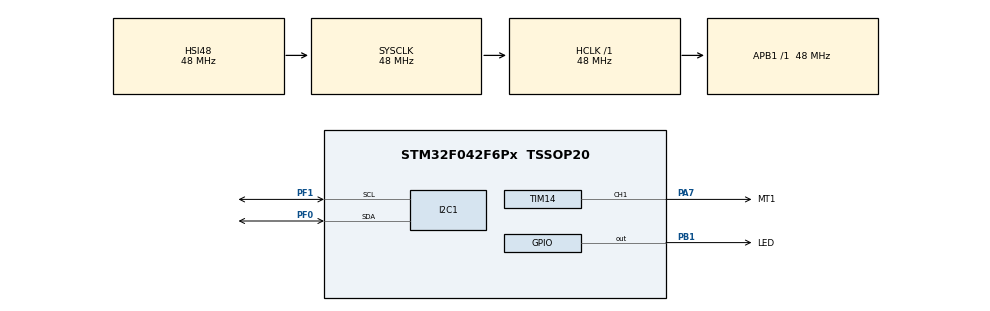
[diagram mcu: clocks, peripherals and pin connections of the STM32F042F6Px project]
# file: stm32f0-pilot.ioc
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Mcu.Family=STM32F0
Mcu.Name=STM32F042F6Px
Mcu.Package=TSSOP20
PA7.GPIO_Label=MT1
PA7.Signal=S_TIM14_CH1
PB1.GPIO_Label=LED
PB1.Signal=GPIO_Output
PF0-OSC_IN.Mode=I2C
PF0-OSC_IN.Signal=I2C1_SDA
PF1-OSC_OUT.Mode=I2C
PF1-OSC_OUT.Signal=I2C1_SCL
ProjectManager.HeapSize=0x200
ProjectManager.StackSize=0x400
ProjectManager.TargetToolchain=STM32CubeIDE
RCC.AHBFreq_Value=48000000
RCC.APB1Freq_Value=48000000
RCC.APB1TimFreq_Value=48000000
RCC.HCLKFreq_Value=48000000
RCC.SYSCLKFreq_VALUE=48000000
RCC.SYSCLKSource=RCC_SYSCLKSOURCE_HSI48
SH.S_TIM14_CH1.0=TIM14_CH1,PWM Generation1 CH1
TIM14.Channel=TIM_CHANNEL_1
TIM14.Period=500
TIM14.Prescaler=48000
TIM14.Pulse=100
VP_TIM14_VS_ClockSourceINT.Mode=Enable_Timer
board=custom

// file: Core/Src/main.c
/* USER CODE BEGIN Header */
/**
  ******************************************************************************
  * @file           : main.c
  * @brief          : Main program body
  ******************************************************************************
  * @attention
  *
  * <h2><center>&copy; Copyright (c) 2020 STMicroelectronics.
  * All rights reserved.</center></h2>
  *
  * This software component is licensed by ST under BSD 3-Clause license,
  * the "License"; You may not use this file except in compliance with the
  * License. You may obtain a copy of the License at:
  *                        opensource.org/licenses/BSD-3-Clause
  *
  ******************************************************************************
  */
/* USER CODE END Header */

#include "main.h"

/* USER CODE BEGIN PD */
#define BNO055_DEV_ADDR (0x29<<1) //(0x28<<1)
#define BNO055_REG_CHIP_ID 0x00
#define BNO055_REG_CHIP_ID_VALUE 0xA0
#define BNO055_REG_SW_REV_ID_LSB 0x04
#define BNO055_REG_SW_REV_ID_MSB 0x05
#define BNO055_REG_BL_REV_ID 0x06
#define BNO055_REG_SYS_TRIGGER 0x3F
#define BNO055_REG_PWR_MODE 0x3E
#define BNO055_REG_OPR_MODE 0x3D
#define BNO055_REG_UNIT_SEL 0x3B
#define BNO055_REG_SYS_ERR 0x3A
#define BNO055_REG_SYS_STATUS 0x39
#define BNO055_REG_EUL_PITCH_MSB 0x1F
#define BNO055_REG_EUL_PITCH_LSB 0x1E
#define BNO055_REG_EUL_ROLL_MSB 0x1D
#define BNO055_REG_EUL_ROLL_LSB 0x1C
#define BNO055_REG_EUL_YAW_MSB 0x1B
#define BNO055_REG_EUL_YAW_LSB 0x1A
#define BNO055_REG_GYR_DATA_Z_MSB 0x19
#define BNO055_REG_GYR_DATA_Z_LSB 0x18
#define BNO055_REG_GYR_DATA_Y_MSB 0x17
#define BNO055_REG_GYR_DATA_Y_LSB 0x16
#define BNO055_REG_GYR_DATA_X_MSB 0x15
#define BNO055_REG_GYR_DATA_X_LSB 0x14
#define BNO055_OPR_MODE_IMU 0x08

#define MPL3115A2_DEV_ADDR (0x60 << 1)
#define MPL3115A2_REG_WHO_AM_I 0x0C
#define MPL3115A2_REG_WHO_AM_VALUE 0xC4
#define MPL3115A2_REG_CTRL_REG1 0x26
#define MPL3115A2_REG_CTRL_REG2 0x27
#define MPL3115A2_REG_CTRL_REG3 0x28
#define MPL3115A2_REG_CTRL_REG4 0x29
#define MPL3115A2_REG_CTRL_REG5 0x2A
#define MPL3115A2_REG_STATUS 0x00
#define MPL3115A2_REG_OUT_P_MSB 0x01
#define MPL3115A2_REG_OUT_P_CSB 0x02
#define MPL3115A2_REG_OUT_P_LSB 0x03
#define MPL3115A2_REG_OUT_T_MSB 0x04
#define MPL3115A2_REG_OUT_T_LSB 0x05
#define MPL3115A2_REG_OUT_P_DELTA_MSB 0x07
#define MPL3115A2_REG_OUT_P_DELTA_CSB 0x08
#define MPL3115A2_REG_OUT_P_DELTA_LSB 0x09
#define MPL3115A2_REG_OUT_T_DELTA_MSB 0x0A
#define MPL3115A2_REG_OUT_T_DELTA_LSB 0x0B
#define MPL3115A2_REG_SYSMOD 0x11
#define MPL3115A2_REG_INT_SOURCE 0x12
#define MPL3115A2_REG_PT_DATA_CFG 0x13

/* USER CODE END PD */

I2C_HandleTypeDef hi2c1;

TIM_HandleTypeDef htim14;

/* USER CODE BEGIN PV */
uint8_t i2cRxBuffer[12];
uint8_t i2cTxBuffer;
uint16_t euler[3];
uint16_t gyro[3];

int32_t pData;
float pData_f;
int16_t tData;
float tData_f;
char uartTxBuff[64];
/* USER CODE END PV */

void SystemClock_Config(void);
static void MX_GPIO_Init(void);
static void MX_I2C1_Init(void);
static void MX_TIM14_Init(void);

/* USER CODE BEGIN 0 */
void IMU_Init(void)
{
	// read CHIP_ID register
	if (HAL_I2C_Mem_Read(&hi2c1, BNO055_DEV_ADDR, BNO055_REG_CHIP_ID, 1, i2cRxBuffer, 1, 100)==HAL_OK){
	  if (i2cRxBuffer[0] == BNO055_REG_CHIP_ID_VALUE) {
	  }
	} else {
	}

	// read Bootloader version
	HAL_I2C_Mem_Read(&hi2c1, BNO055_DEV_ADDR, BNO055_REG_BL_REV_ID, 1, &i2cRxBuffer[1], 1, 100);

	// read Software version
	HAL_I2C_Mem_Read(&hi2c1, BNO055_DEV_ADDR, BNO055_REG_SW_REV_ID_LSB, 1, &i2cRxBuffer[2], 1, 100);
	HAL_I2C_Mem_Read(&hi2c1, BNO055_DEV_ADDR, BNO055_REG_SW_REV_ID_MSB, 1, &i2cRxBuffer[3], 1, 100);
	HAL_I2C_Mem_Read(&hi2c1, BNO055_DEV_ADDR, BNO055_REG_SW_REV_ID_LSB, 1, &i2cRxBuffer[4], 2, 100);

	// read System Status
	HAL_I2C_Mem_Read(&hi2c1, BNO055_DEV_ADDR, BNO055_REG_SYS_STATUS, 1, &i2cRxBuffer[1], 1, 10);
	HAL_I2C_Mem_Read(&hi2c1, BNO055_DEV_ADDR, BNO055_REG_SYS_ERR, 1, &i2cRxBuffer[1], 1, 10);

	// set operating mode to IMU mode
	i2cTxBuffer = BNO055_OPR_MODE_IMU;
	HAL_I2C_Mem_Write(&hi2c1, BNO055_DEV_ADDR, BNO055_REG_OPR_MODE, 1, &i2cTxBuffer, 1, 10);
	HAL_I2C_Mem_Read(&hi2c1, BNO055_DEV_ADDR, BNO055_REG_SYS_STATUS, 1, &i2cRxBuffer[1], 1, 10);
}
void readIMU(void)
{
	HAL_I2C_Mem_Read(&hi2c1, BNO055_DEV_ADDR, BNO055_REG_EUL_PITCH_MSB, 1, i2cRxBuffer, 12, 10);
	euler[0] = i2cRxBuffer[0]<<8 | i2cRxBuffer[1];
	euler[1] = i2cRxBuffer[2]<<8 | i2cRxBuffer[3];
	euler[2] = i2cRxBuffer[4]<<8 | i2cRxBuffer[5];
	gyro[0]  = i2cRxBuffer[6]<<8 | i2cRxBuffer[7];
	gyro[1]  = i2cRxBuffer[8]<<8 | i2cRxBuffer[9];
	gyro[2]  = i2cRxBuffer[10]<<8 | i2cRxBuffer[11];
}

void Alti_Init(void)
{
	/* MPL3115A2 INITIALIZATION */

	// check MPL3115A2 sensor by reading WHO_AM_I register
	if (HAL_I2C_Mem_Read(&hi2c1, MPL3115A2_DEV_ADDR, MPL3115A2_REG_WHO_AM_I, 1, i2cRxBuffer, 1, 100) == HAL_OK){
	  if (i2cRxBuffer[0] == MPL3115A2_REG_WHO_AM_VALUE) {
		  //read system mode
		  HAL_I2C_Mem_Read(&hi2c1, MPL3115A2_DEV_ADDR, MPL3115A2_REG_SYSMOD, 1, &i2cRxBuffer[1], 1, 100);
	  } else {
	  }
	}

	i2cTxBuffer=0x07;
	HAL_I2C_Mem_Write(&hi2c1, MPL3115A2_DEV_ADDR, MPL3115A2_REG_PT_DATA_CFG, 1, &i2cTxBuffer, 1, 100);

	i2cTxBuffer=0x80; // Data Ready interrupt enabled
	HAL_I2C_Mem_Write(&hi2c1, MPL3115A2_DEV_ADDR, MPL3115A2_REG_CTRL_REG4, 1, &i2cTxBuffer, 1, 100);

	i2cTxBuffer=0x80; // Interrupt is routed to INT1
	HAL_I2C_Mem_Write(&hi2c1, MPL3115A2_DEV_ADDR, MPL3115A2_REG_CTRL_REG5, 1, &i2cTxBuffer, 1, 100);

	// put sensor to ACTIVE mode
	//  i2cTxBuff=0xB9; // altitude mode
	i2cTxBuffer=0x39; // barometer mode
	HAL_I2C_Mem_Write(&hi2c1, MPL3115A2_DEV_ADDR, MPL3115A2_REG_CTRL_REG1, 1, &i2cTxBuffer, 1, 100);

	//read system mode
	HAL_I2C_Mem_Read(&hi2c1, MPL3115A2_DEV_ADDR, MPL3115A2_REG_SYSMOD, 1, &i2cRxBuffer[1], 1, 100);
}

void readAlti(void)
{

	// read all data at once
	if (HAL_I2C_Mem_Read(&hi2c1, MPL3115A2_DEV_ADDR, MPL3115A2_REG_OUT_P_MSB, 1, i2cRxBuffer, 5, 100) == HAL_OK)
	{

		/*
		 * altitude
		 */

		pData = i2cRxBuffer[0]<<24 | i2cRxBuffer[1]<<16 | i2cRxBuffer[2]<<8;
		pData_f = pData / 65536;

		/*
		 * pressure
		 */

//		pData = i2cRxBuff[0]<<16 | i2cRxBuff[1]<<8 | i2cRxBuff[2]<<8;
//		pData_f = pData / 64;

//		sprintf(uartTxBuff, "baro: %f\r\n", pData_f);
//		HAL_UART_Transmit(&huart3, (uint8_t *) uartTxBuff, strlen(uartTxBuff), 100);

		/*
		 * temperature
		 */

//		tData = i2cRxBuff[3]<<8 | i2cRxBuff[4];
//		tData_f = tData / 256;

//		sprintf(uartTxBuff, "temp: %f\r\n", tData_f);
//		HAL_UART_Transmit(&huart3, (uint8_t *) uartTxBuff, strlen(uartTxBuff), 100);

	}

}

/* USER CODE END 0 */

int main(void)
{

  /* MCU Configuration--------------------------------------------------------*/

  /* Reset of all peripherals, Initializes the Flash interface and the Systick. */
  HAL_Init();

  /* Configure the system clock */
  SystemClock_Config();

  /* Initialize all configured peripherals */
  MX_GPIO_Init();
  MX_I2C1_Init();
  MX_TIM14_Init();

  /* Infinite loop */
  /* USER CODE BEGIN WHILE */
  IMU_Init();
  Alti_Init();

  HAL_TIM_PWM_Start(&htim14, TIM_CHANNEL_1);
  while (1)
  {
    /* USER CODE END WHILE */

    /* USER CODE BEGIN 3 */
	  HAL_GPIO_TogglePin(LED_GPIO_Port, LED_Pin);
	  readIMU();
	  readAlti();

  }
  /* USER CODE END 3 */
}

void SystemClock_Config(void)
{
  RCC_OscInitTypeDef RCC_OscInitStruct = {0};
  RCC_ClkInitTypeDef RCC_ClkInitStruct = {0};
  RCC_PeriphCLKInitTypeDef PeriphClkInit = {0};

  /** Initializes the CPU, AHB and APB busses clocks
  */
  RCC_OscInitStruct.OscillatorType = RCC_OSCILLATORTYPE_HSI|RCC_OSCILLATORTYPE_HSI48;
  RCC_OscInitStruct.HSIState = RCC_HSI_ON;
  RCC_OscInitStruct.HSI48State = RCC_HSI48_ON;
  RCC_OscInitStruct.HSICalibrationValue = RCC_HSICALIBRATION_DEFAULT;
  RCC_OscInitStruct.PLL.PLLState = RCC_PLL_NONE;
  if (HAL_RCC_OscConfig(&RCC_OscInitStruct) != HAL_OK)
  {
    Error_Handler();
  }
  /** Initializes the CPU, AHB and APB busses clocks
  */
  RCC_ClkInitStruct.ClockType = RCC_CLOCKTYPE_HCLK|RCC_CLOCKTYPE_SYSCLK
                              |RCC_CLOCKTYPE_PCLK1;
  RCC_ClkInitStruct.SYSCLKSource = RCC_SYSCLKSOURCE_HSI48;
  RCC_ClkInitStruct.AHBCLKDivider = RCC_SYSCLK_DIV1;
  RCC_ClkInitStruct.APB1CLKDivider = RCC_HCLK_DIV1;

  if (HAL_RCC_ClockConfig(&RCC_ClkInitStruct, FLASH_LATENCY_1) != HAL_OK)
  {
    Error_Handler();
  }
  PeriphClkInit.PeriphClockSelection = RCC_PERIPHCLK_I2C1;
  PeriphClkInit.I2c1ClockSelection = RCC_I2C1CLKSOURCE_HSI;
  if (HAL_RCCEx_PeriphCLKConfig(&PeriphClkInit) != HAL_OK)
  {
    Error_Handler();
  }
}

static void MX_I2C1_Init(void)
{

  hi2c1.Instance = I2C1;
  hi2c1.Init.Timing = 0x2000090E;
  hi2c1.Init.OwnAddress1 = 0;
  hi2c1.Init.AddressingMode = I2C_ADDRESSINGMODE_7BIT;
  hi2c1.Init.DualAddressMode = I2C_DUALADDRESS_DISABLE;
  hi2c1.Init.OwnAddress2 = 0;
  hi2c1.Init.OwnAddress2Masks = I2C_OA2_NOMASK;
  hi2c1.Init.GeneralCallMode = I2C_GENERALCALL_DISABLE;
  hi2c1.Init.NoStretchMode = I2C_NOSTRETCH_DISABLE;
  if (HAL_I2C_Init(&hi2c1) != HAL_OK)
  {
    Error_Handler();
  }
  /** Configure Analogue filter
  */
  if (HAL_I2CEx_ConfigAnalogFilter(&hi2c1, I2C_ANALOGFILTER_ENABLE) != HAL_OK)
  {
    Error_Handler();
  }
  /** Configure Digital filter
  */
  if (HAL_I2CEx_ConfigDigitalFilter(&hi2c1, 0) != HAL_OK)
  {
    Error_Handler();
  }

}

static void MX_TIM14_Init(void)
{

  TIM_OC_InitTypeDef sConfigOC = {0};

  htim14.Instance = TIM14;
  htim14.Init.Prescaler = 48000;
  htim14.Init.CounterMode = TIM_COUNTERMODE_UP;
  htim14.Init.Period = 500;
  htim14.Init.ClockDivision = TIM_CLOCKDIVISION_DIV1;
  htim14.Init.AutoReloadPreload = TIM_AUTORELOAD_PRELOAD_DISABLE;
  if (HAL_TIM_Base_Init(&htim14) != HAL_OK)
  {
    Error_Handler();
  }
  if (HAL_TIM_PWM_Init(&htim14) != HAL_OK)
  {
    Error_Handler();
  }
  sConfigOC.OCMode = TIM_OCMODE_PWM1;
  sConfigOC.Pulse = 100;
  sConfigOC.OCPolarity = TIM_OCPOLARITY_HIGH;
  sConfigOC.OCFastMode = TIM_OCFAST_DISABLE;
  if (HAL_TIM_PWM_ConfigChannel(&htim14, &sConfigOC, TIM_CHANNEL_1) != HAL_OK)
  {
    Error_Handler();
  }
  HAL_TIM_MspPostInit(&htim14);

}

static void MX_GPIO_Init(void)
{
  GPIO_InitTypeDef GPIO_InitStruct = {0};

  /* GPIO Ports Clock Enable */
  __HAL_RCC_GPIOF_CLK_ENABLE();
  __HAL_RCC_GPIOA_CLK_ENABLE();
  __HAL_RCC_GPIOB_CLK_ENABLE();

  /*Configure GPIO pin Output Level */
  HAL_GPIO_WritePin(LED_GPIO_Port, LED_Pin, GPIO_PIN_RESET);

  /*Configure GPIO pin : LED_Pin */
  GPIO_InitStruct.Pin = LED_Pin;
  GPIO_InitStruct.Mode = GPIO_MODE_OUTPUT_PP;
  GPIO_InitStruct.Pull = GPIO_NOPULL;
  GPIO_InitStruct.Speed = GPIO_SPEED_FREQ_LOW;
  HAL_GPIO_Init(LED_GPIO_Port, &GPIO_InitStruct);

}

void Error_Handler(void)
{
}

/************************ (C) COPYRIGHT STMicroelectronics *****END OF FILE****/
